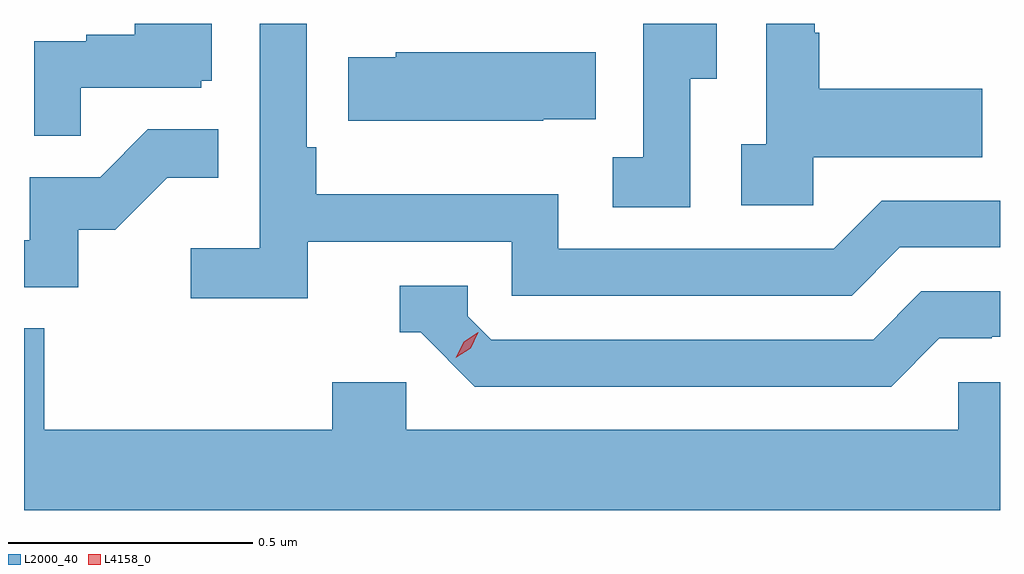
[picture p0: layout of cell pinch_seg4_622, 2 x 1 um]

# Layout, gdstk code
import gdstk
lib = gdstk.Library(unit=1e-6, precision=1e-09)
def P(c, l, *ps):  # polygons
    for p in ps: c.add(gdstk.Polygon(p, *l))
L2000_40 = (2000, 40)
L4158_0 = (4158, 0)

pinch_seg4_622 = lib.new_cell('pinch_seg4_622')
P(pinch_seg4_622, L2000_40, [(1066.722,786.887),(1067.069,786.887),(1067.069,787.027),(1066.735,787.027),(1066.735,787.142),(1066.725,787.142),(1066.725,787.16),(1066.626,787.16),(1066.626,786.914),(1066.575,786.914),(1066.575,786.789),(1066.722,786.789)],
  [(1065.686,786.714),(1066.104,786.714),(1066.104,786.603),(1066.801,786.603),(1066.9,786.702),(1067.105,786.702),(1067.105,786.798),(1066.863,786.798),(1066.764,786.699),(1066.2,786.699),(1066.2,786.811),(1065.704,786.811),(1065.704,786.907),(1065.684,786.907),(1065.684,787.16),(1065.588,787.16),(1065.588,786.7),(1065.447,786.7),(1065.447,786.598),(1065.686,786.598)],
  [(1066.47,787.048),(1066.525,787.048),(1066.525,787.16),(1066.374,787.16),(1066.374,786.887),(1066.311,786.887),(1066.311,786.784),(1066.47,786.784)],
  [(1065.221,787.029),(1065.468,787.029),(1065.468,787.044),(1065.49,787.044),(1065.49,787.16),(1065.332,787.16),(1065.332,787.138),(1065.233,787.138),(1065.233,787.125),(1065.126,787.125),(1065.126,786.931),(1065.221,786.931)],
  [(1066.169,786.965),(1066.277,786.965),(1066.277,787.102),(1065.867,787.102),(1065.867,787.092),(1065.769,787.092),(1065.769,786.962),(1066.169,786.962)],
  [(1065.216,786.738),(1065.292,786.738),(1065.399,786.845),(1065.503,786.845),(1065.503,786.944),(1065.359,786.944),(1065.261,786.846),(1065.117,786.846),(1065.117,786.717),(1065.105,786.717),(1065.105,786.621),(1065.216,786.621)],
  [(1066.981,786.516),(1067.088,786.516),(1067.088,786.519),(1067.105,786.519),(1067.105,786.612),(1066.944,786.612),(1066.845,786.513),(1066.062,786.513),(1066.014,786.561),(1066.014,786.624),(1065.875,786.624),(1065.875,786.528),(1065.918,786.528),(1066.029,786.417),(1066.882,786.417)],
  [(1067.105,786.426),(1067.019,786.426),(1067.019,786.328),(1065.888,786.328),(1065.888,786.426),(1065.737,786.426),(1065.737,786.328),(1065.146,786.328),(1065.146,786.536),(1065.105,786.536),(1065.105,786.164),(1067.105,786.164)])
P(pinch_seg4_622, L4158_0, [(1065.99,786.476),(1065.99,786.476),(1066.006,786.509),(1066.036,786.528),(1066.036,786.528),(1066.036,786.528),(1066.02,786.495),(1065.99,786.476)])

lib.write_gds('pinch_seg4_622.gds')
